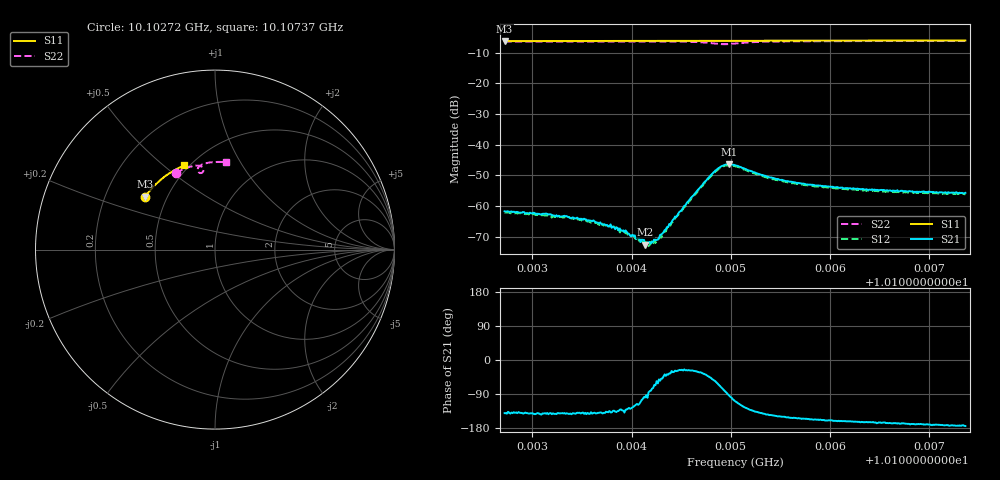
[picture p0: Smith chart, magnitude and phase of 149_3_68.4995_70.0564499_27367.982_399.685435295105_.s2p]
#  HZ  S  RI  R  50.00
! Rohde & Schwarz Vector Network Analyzer
! Rohde-Schwarz,ZNB20-2Port,1311601062101988,3.16
! Created: UTC 3/20/2024, 5:10:21 PM
! freq[Hz]  re:S11  im:S11  re:S21  im:S21  re:S12  im:S12  re:S22  im:S22
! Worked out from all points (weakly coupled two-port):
!   401 points, 10.10272 GHz to 10.10737 GHz, reference 50 ohm
!   highest |S21| = -46.37 dB at 10.10499 GHz (marker M1); lowest = -72.5 dB at 10.10414 GHz (marker M2)
!   lowest |S11| = -6.2 dB at 10.10272 GHz (marker M3), VSWR 2.90, Z = 19 + j14.6 ohm
!   |S11| at or under -10 dB: nowhere
!   |S22| runs from -7.3 to -6.2 dB; largest |S21 - S12| = 0.00049
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1.0102719e10  -0.3877 0.2947  -0.000634 -0.000529  -0.000568 -0.000547  -0.2161 0.4278
1.0103126e10  -0.3734 0.3148  -0.00058 -0.000483  -0.0005 -0.000487  -0.1923 0.4403
1.0103498e10  -0.3591 0.3324  -0.000476 -0.000404  -0.000422 -0.000401  -0.1693 0.4505
1.0103602e10  -0.3549 0.3373  -0.000445 -0.000353  -0.000398 -0.000384  -0.1629 0.4532
1.0103812e10  -0.3465 0.3469  -0.000325 -0.000333  -0.000303 -0.000344  -0.1488 0.4582
1.0103939e10  -0.3413 0.3525  -0.000268 -0.000303  -0.000197 -0.000307  -0.1403 0.4609
1.0104067e10  -0.3358 0.3581  -0.000143 -0.000268  -9.88e-05 -0.000271  -0.1312 0.4636
1.0104102e10  -0.3343 0.3597  -7.92e-05 -0.000283  -5.6e-05 -0.000237  -0.1286 0.4642
1.0104137e10  -0.3329 0.3611  -3.51e-05 -0.000233  -1.36e-05 -0.000264  -0.1259 0.4648
1.010416e10  -0.3318 0.362  -4.34e-05 -0.000254  2.72e-05 -0.000253  -0.1241 0.4652
1.0104195e10  -0.3303 0.3636  3.91e-05 -0.000244  6.98e-05 -0.000252  -0.1215 0.4657
1.0104276e10  -0.3267 0.3672  0.000191 -0.000236  0.00019 -0.000228  -0.1148 0.467
1.0104323e10  -0.3248 0.3691  0.000276 -0.000257  0.000279 -0.000207  -0.1112 0.4676
1.0104625e10  -0.3111 0.3815  0.00131 -0.000715  0.00133 -0.000599  -0.0816 0.4651
1.0104799e10  -0.3032 0.3883  0.00219 -0.00234  0.00228 -0.00204  -0.0648 0.4476
1.0104904e10  -0.2985 0.3922  0.00139 -0.00422  0.00173 -0.00392  -0.0706 0.4295
1.0104985e10  -0.2947 0.3952  -0.000341 -0.00479  6.84e-05 -0.00461  -0.0865 0.4275
1.0105043e10  -0.292 0.3975  -0.00148 -0.0044  -0.001 -0.00435  -0.0946 0.4348
1.0105404e10  -0.2748 0.4109  -0.00241 -0.00168  -0.00216 -0.0018  -0.0769 0.4716
1.0105822e10  -0.254 0.4255  -0.00205 -0.000882  -0.00188 -0.00102  -0.0446 0.4826
1.01066e10  -0.2133 0.4492  -0.00175 -0.00043  -0.00162 -0.00055  0.00909 0.4882
1.0107367e10  -0.1713 0.4686  -0.00164 -0.000166  -0.00152 -0.000329  0.0595 0.4869
